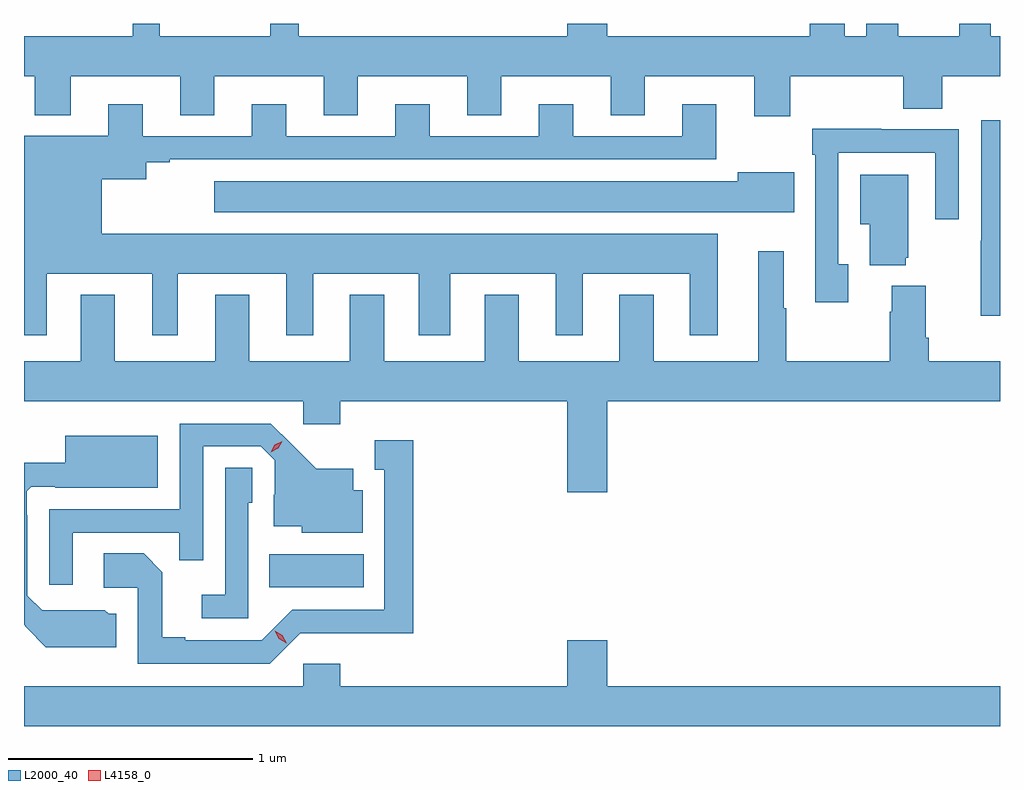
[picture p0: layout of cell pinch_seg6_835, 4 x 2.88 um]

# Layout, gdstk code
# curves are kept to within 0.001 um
import gdstk
lib = gdstk.Library(unit=1e-6, precision=1e-09)
def R(c, l, rs):  # rectangles x0, y0, x1, y1
    for r in rs: c.add(gdstk.rectangle(r[:2], r[2:], *l))
def P(c, l, *ps):  # polygons
    for p in ps: c.add(gdstk.Polygon(p, *l))
L2000_40 = (2000, 40)
L4158_0 = (4158, 0)

pinch_seg6_835 = lib.new_cell('pinch_seg6_835')
R(pinch_seg6_835, L2000_40, [(151.798,990.53,152.185,990.664)])
P(pinch_seg6_835, L2000_40, [(153.933,992.624),(154.396,992.624),(154.396,992.491),(154.556,992.491),(154.556,992.624),(154.793,992.624),(154.793,992.788),(154.756,992.788),(154.756,992.839),(154.625,992.839),(154.625,992.788),(154.375,992.788),(154.375,992.839),(154.244,992.839),(154.244,992.788),(154.156,992.788),(154.156,992.839),(154.013,992.839),(154.013,992.788),(153.184,992.788),(153.184,992.839),(153.02,992.839),(153.02,992.788),(151.919,992.788),(151.919,992.839),(151.802,992.839),(151.802,992.788),(151.349,992.788),(151.349,992.839),(151.239,992.839),(151.239,992.788),(150.793,992.788),(150.793,992.624),(150.838,992.624),(150.838,992.465),(150.985,992.465),(150.985,992.624),(151.433,992.624),(151.433,992.464),(151.573,992.464),(151.573,992.624),(152.021,992.624),(152.021,992.464),(152.161,992.464),(152.161,992.624),(152.609,992.624),(152.609,992.464),(152.749,992.464),(152.749,992.624),(153.197,992.624),(153.197,992.464),(153.337,992.464),(153.337,992.624),(153.785,992.624),(153.785,992.46),(153.933,992.46)],
  [(150.886,991.814),(151.319,991.814),(151.319,991.563),(151.423,991.563),(151.423,991.814),(151.868,991.814),(151.868,991.563),(151.978,991.563),(151.978,991.814),(152.411,991.814),(152.411,991.563),(152.539,991.563),(152.539,991.814),(152.972,991.814),(152.972,991.563),(153.082,991.563),(153.082,991.814),(153.521,991.814),(153.521,991.563),(153.637,991.563),(153.637,991.978),(151.111,991.978),(151.111,992.201),(151.294,992.201),(151.294,992.271),(151.39,992.271),(151.39,992.283),(153.631,992.283),(153.631,992.509),(153.491,992.509),(153.491,992.379),(153.043,992.379),(153.043,992.509),(152.903,992.509),(152.903,992.379),(152.455,992.379),(152.455,992.509),(152.315,992.509),(152.315,992.379),(151.867,992.379),(151.867,992.509),(151.727,992.509),(151.727,992.379),(151.279,992.379),(151.279,992.509),(151.139,992.509),(151.139,992.38),(150.793,992.38),(150.793,991.563),(150.886,991.563)],
  [(154.793,992.443),(154.716,992.443),(154.716,991.949),(154.714,991.949),(154.714,991.643),(154.793,991.643)],
  [(154.171,991.854),(154.131,991.854),(154.131,992.31),(154.527,992.31),(154.527,992.037),(154.623,992.037),(154.623,992.406),(154.307,992.406),(154.307,992.408),(154.023,992.408),(154.023,992.303),(154.035,992.303),(154.035,991.698),(154.171,991.698)],
  [(153.949,992.23),(153.719,992.23),(153.719,992.194),(151.572,992.194),(151.572,992.066),(153.949,992.066)],
  [(154.406,991.881),(154.417,991.881),(154.417,992.221),(154.22,992.221),(154.22,992.018),(154.259,992.018),(154.259,991.85),(154.406,991.85)],
  [(153.184,991.292),(154.793,991.292),(154.793,991.456),(154.502,991.456),(154.502,991.552),(154.489,991.552),(154.489,991.765),(154.349,991.765),(154.349,991.658),(154.342,991.658),(154.342,991.456),(153.917,991.456),(153.917,991.673),(153.907,991.673),(153.907,991.906),(153.803,991.906),(153.803,991.456),(153.373,991.456),(153.373,991.729),(153.233,991.729),(153.233,991.456),(152.821,991.456),(152.821,991.729),(152.681,991.729),(152.681,991.456),(152.269,991.456),(152.269,991.729),(152.129,991.729),(152.129,991.456),(151.717,991.456),(151.717,991.729),(151.577,991.729),(151.577,991.456),(151.165,991.456),(151.165,991.729),(151.025,991.729),(151.025,991.456),(150.793,991.456),(150.793,991.292),(151.938,991.292),(151.938,991.197),(152.09,991.197),(152.09,991.292),(153.02,991.292),(153.02,990.918),(153.184,990.918)],
  [(150.993,990.753),(151.429,990.753),(151.429,990.64),(151.527,990.64),(151.527,991.107),(151.764,991.107),(151.821,991.05),(151.821,990.908),(151.817,990.908),(151.817,990.779),(151.932,990.779),(151.932,990.752),(152.182,990.752),(152.182,990.928),(152.143,990.928),(152.143,991.015),(151.991,991.015),(151.804,991.2),(151.431,991.2),(151.431,990.849),(150.897,990.849),(150.897,990.54),(150.993,990.54)],
  [(151.171,990.42),(151.14,990.42),(151.124,990.436),(150.867,990.435),(150.807,990.495),(150.807,990.824),(150.804,990.824),(150.804,990.924),(150.822,990.942),(150.922,990.942),(150.922,990.938),(151.342,990.938),(151.342,991.15),(150.962,991.15),(150.962,991.039),(150.793,991.039),(150.793,990.375),(150.883,990.284),(151.171,990.284)],
  [(151.926,990.342),(152.389,990.341),(152.389,991.132),(152.231,991.132),(152.231,991.011),(152.27,991.011),(152.27,990.438),(151.893,990.438),(151.767,990.312),(151.453,990.312),(151.453,990.325),(151.359,990.325),(151.359,990.592),(151.283,990.668),(151.119,990.668),(151.119,990.528),(151.26,990.528),(151.26,990.216),(151.8,990.216)],
  [(151.713,990.876),(151.728,990.876),(151.728,991.019),(151.617,991.019),(151.617,990.499),(151.521,990.499),(151.521,990.402),(151.713,990.402)],
  [(154.793,990.124),(153.184,990.124),(153.184,990.313),(153.02,990.313),(153.02,990.124),(152.09,990.124),(152.09,990.217),(151.938,990.217),(151.938,990.124),(150.793,990.124),(150.793,989.96),(154.793,989.96)])
P(pinch_seg6_835, L4158_0, [(151.869,990.3),(151.838,990.319),(151.82,990.352),(151.82,990.352),(151.821,990.352),(151.852,990.333),(151.87,990.3),(151.87,990.3)],
  [(151.804,991.083),(151.804,991.083),(151.821,991.113),(151.852,991.129),(151.852,991.129),(151.852,991.129),(151.835,991.099),(151.804,991.083)])

lib.write_gds('pinch_seg6_835.gds')
